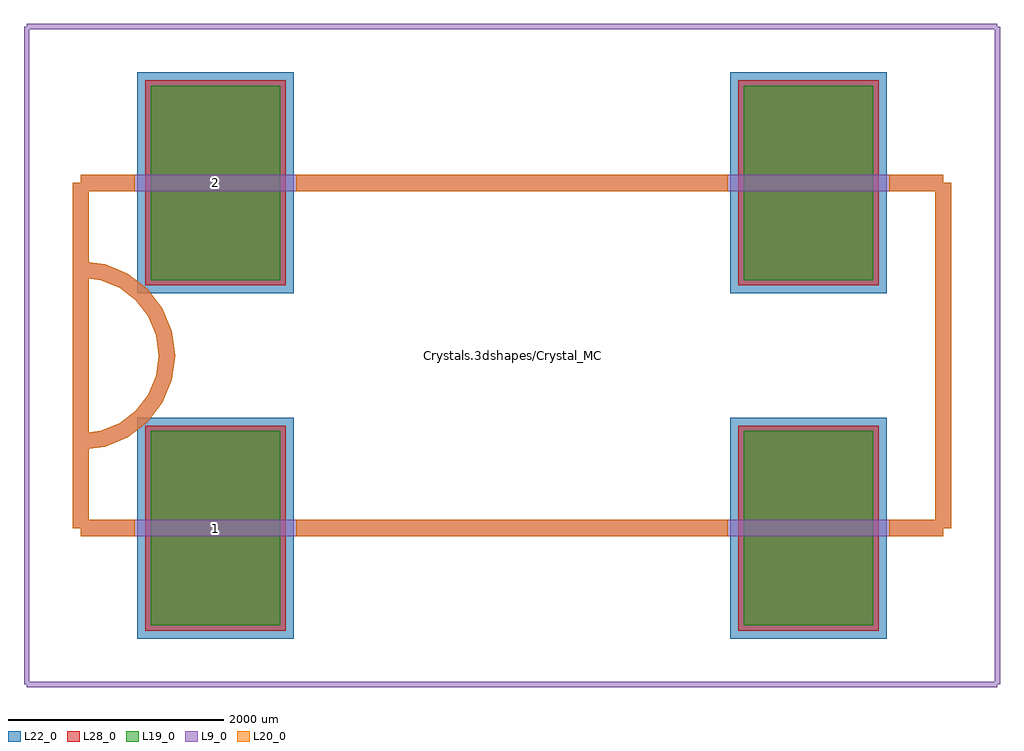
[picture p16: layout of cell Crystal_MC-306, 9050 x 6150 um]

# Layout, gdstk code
import gdstk
lib = gdstk.Library(unit=1e-6, precision=1e-09)
def R(c, l, rs):  # rectangles x0, y0, x1, y1
    for r in rs: c.add(gdstk.rectangle(r[:2], r[2:], *l))
L9_0 = (9, 0)
L19_0 = (19, 0)
L20_0 = (20, 0)
L22_0 = (22, 0)
L28_0 = (28, 0)

crystal_mc_306 = lib.new_cell('Crystal_MC-306')
R(crystal_mc_306, L19_0, [(-3350,-2500,-2150,-700), (2150,-2500,3350,-700), (-3350,700,-2150,2500), (2150,700,3350,2500)])
R(crystal_mc_306, L22_0, [(-3475,-2625,-2025,-575), (2025,-2625,3475,-575), (-3475,575,-2025,2625), (2025,575,3475,2625)])
R(crystal_mc_306, L28_0, [(-3400,-2550,-2100,-650), (2100,-2550,3400,-650), (-3400,650,-2100,2550), (2100,650,3400,2550)])
crystal_mc_306.add(gdstk.FlexPath([(-4000,-1600),(4000,-1600)], 149.998, ends="flush", simple_path=True, layer=9, datatype=0))  # L9_0
crystal_mc_306.add(gdstk.FlexPath([(4000,1600),(-4000,1600)], 149.998, ends="flush", simple_path=True, layer=9, datatype=0))  # L9_0
crystal_mc_306.add(gdstk.FlexPath([(-4000,-800),(-3792.945,-772.741),(-3600,-692.82),(-3434.315,-565.685),(-3307.18,-400),(-3227.259,-207.055),(-3200,0),(-3227.259,207.055),(-3307.18,400),(-3434.315,565.685),(-3600,692.82),(-3792.945,772.741),(-4000,800)], 149.998, ends="flush", simple_path=True, layer=9, datatype=0))  # L9_0
crystal_mc_306.add(gdstk.FlexPath([(-4000,-1600),(-4000,1600)], 149.998, ends="flush", simple_path=True, layer=9, datatype=0))  # L9_0
crystal_mc_306.add(gdstk.FlexPath([(4000,1600),(4000,-1600)], 149.998, ends="flush", simple_path=True, layer=9, datatype=0))  # L9_0
crystal_mc_306.add(gdstk.FlexPath([(-4500,3050),(4500,3050)], 50, ends="flush", simple_path=True, layer=9, datatype=0))  # L9_0
crystal_mc_306.add(gdstk.FlexPath([(4500,-3050),(4500,3050)], 50, ends="flush", simple_path=True, layer=9, datatype=0))  # L9_0
crystal_mc_306.add(gdstk.FlexPath([(-4500,-3050),(4500,-3050)], 50, ends="flush", simple_path=True, layer=9, datatype=0))  # L9_0
crystal_mc_306.add(gdstk.FlexPath([(-4500,3050),(-4500,-3050)], 50, ends="flush", simple_path=True, layer=9, datatype=0))  # L9_0
crystal_mc_306.add(gdstk.FlexPath([(-4000,1600),(-3500,1600)], 149.998, ends="flush", simple_path=True, layer=20, datatype=0))  # L20_0
crystal_mc_306.add(gdstk.FlexPath([(-2000,1600),(2000,1600)], 149.998, ends="flush", simple_path=True, layer=20, datatype=0))  # L20_0
crystal_mc_306.add(gdstk.FlexPath([(3500,1600),(4000,1600)], 149.998, ends="flush", simple_path=True, layer=20, datatype=0))  # L20_0
crystal_mc_306.add(gdstk.FlexPath([(4000,-1600),(3500,-1600)], 149.998, ends="flush", simple_path=True, layer=20, datatype=0))  # L20_0
crystal_mc_306.add(gdstk.FlexPath([(4000,1600),(4000,-1600)], 149.998, ends="flush", simple_path=True, layer=20, datatype=0))  # L20_0
crystal_mc_306.add(gdstk.FlexPath([(2000,-1600),(-2000,-1600)], 149.998, ends="flush", simple_path=True, layer=20, datatype=0))  # L20_0
crystal_mc_306.add(gdstk.FlexPath([(-4000,-1600),(-4000,1600)], 149.998, ends="flush", simple_path=True, layer=20, datatype=0))  # L20_0
crystal_mc_306.add(gdstk.FlexPath([(-3500,-1600),(-4000,-1600)], 149.998, ends="flush", simple_path=True, layer=20, datatype=0))  # L20_0
crystal_mc_306.add(gdstk.FlexPath([(-4000,-800),(-3792.945,-772.741),(-3600,-692.82),(-3434.315,-565.685),(-3307.18,-400),(-3227.259,-207.055),(-3200,0),(-3227.259,207.055),(-3307.18,400),(-3434.315,565.685),(-3600,692.82),(-3792.945,772.741),(-4000,800)], 149.998, ends="flush", simple_path=True, layer=20, datatype=0))  # L20_0
crystal_mc_306.add(gdstk.Label('Crystals.3dshapes/Crystal_MC-306.wrl', (0,0), layer=12, texttype=0))
crystal_mc_306.add(gdstk.Label('2', (-2750,1600), layer=28, texttype=0))
crystal_mc_306.add(gdstk.Label('1', (-2750,-1600), layer=28, texttype=0))
crystal_mc_306.add(gdstk.Label('type', (0,-3800), layer=9, texttype=0))
crystal_mc_306.add(gdstk.Label('devicename', (0,3700), layer=9, texttype=0))

lib.write_gds('Crystal_MC-306.gds')
